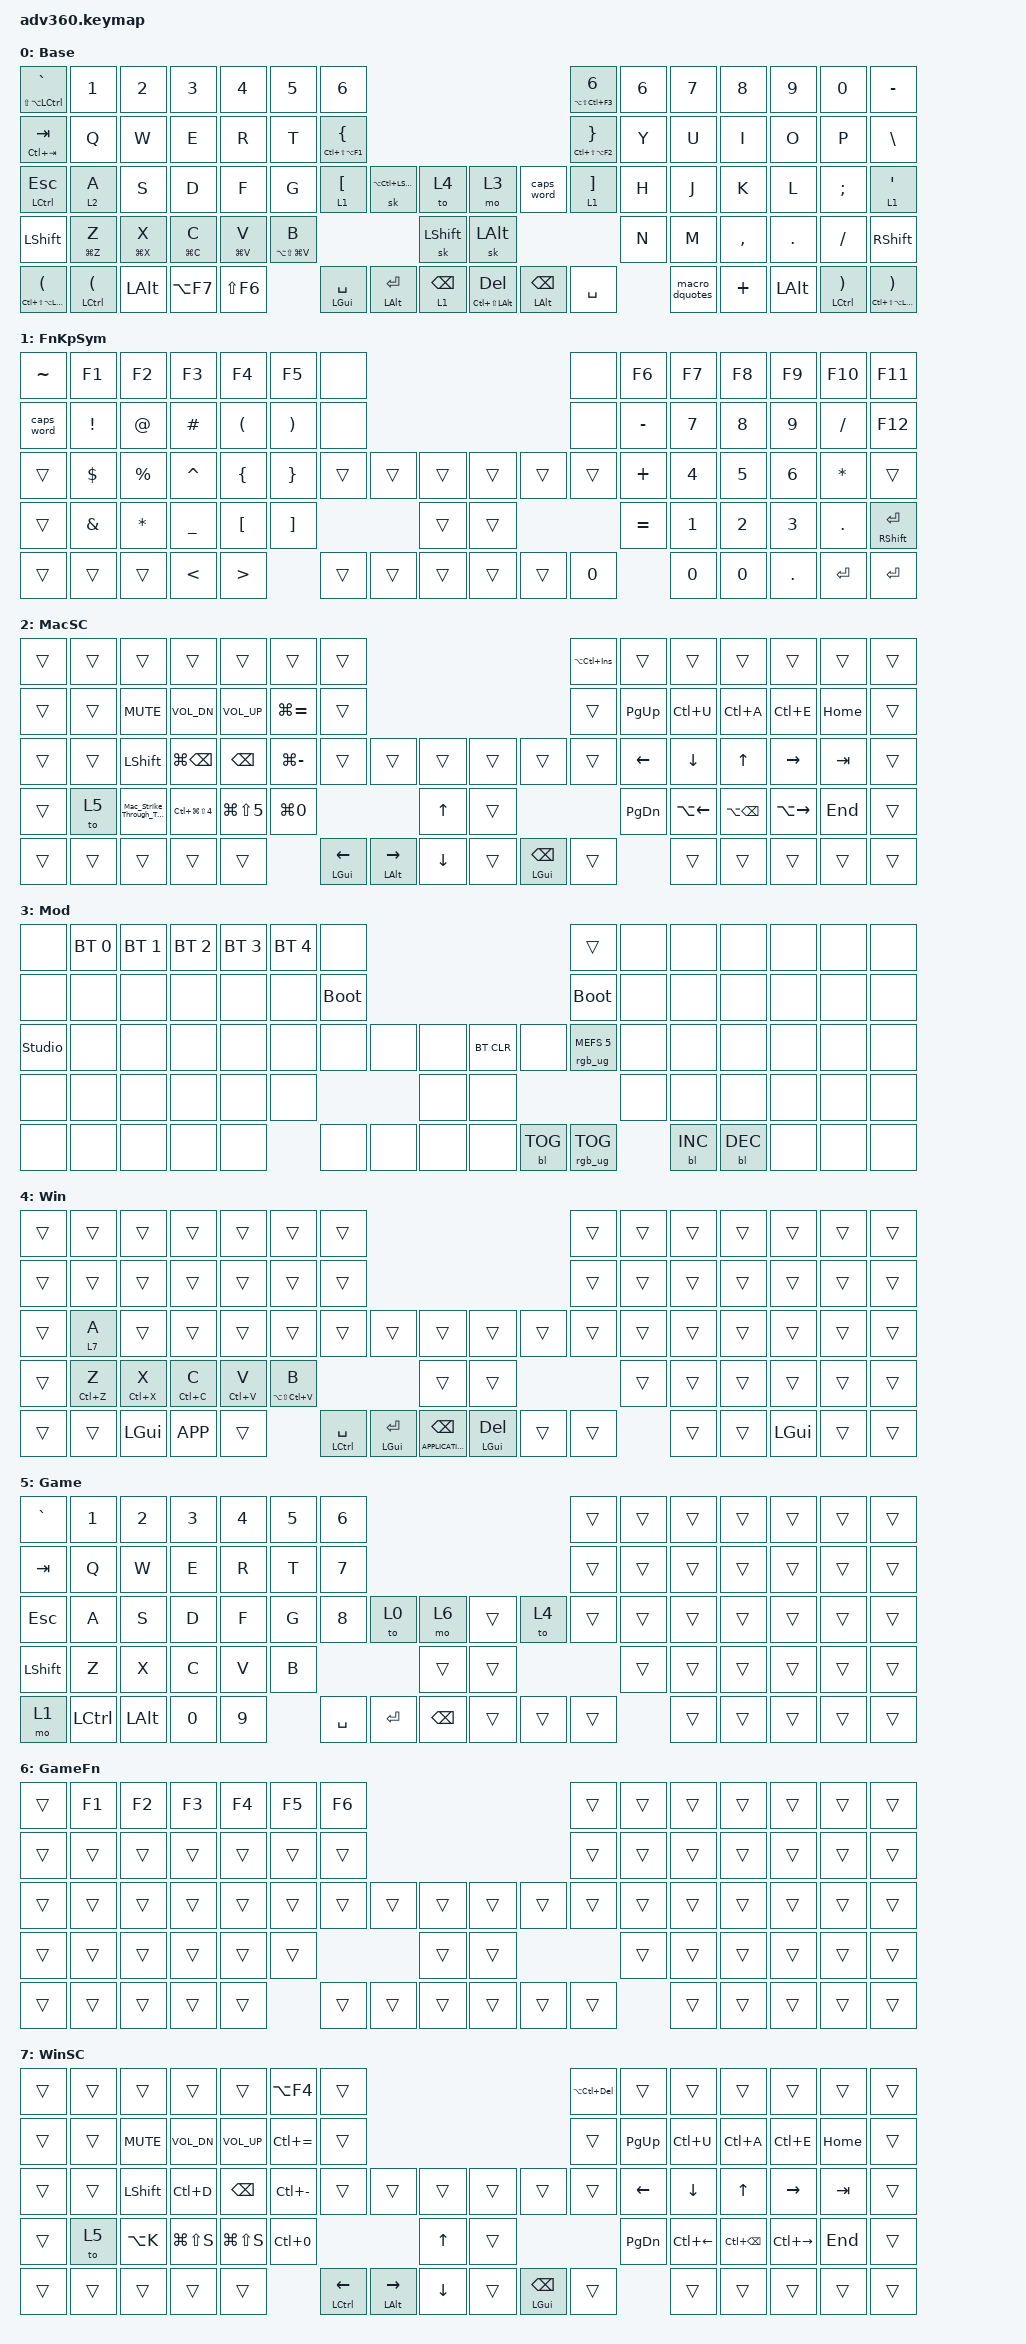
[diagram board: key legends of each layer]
/*
 * Copyright (c) 2020 The ZMK Contributors
 *
 * SPDX-License-Identifier: MIT
 */
/* THIS FILE WAS GENERATED!
 *
 * This file was generated automatically. You may or may not want to
 * edit it directly.
 */

#include <dt-bindings/zmk/stp.h>
#include <behaviors.dtsi>
#include <dt-bindings/zmk/backlight.h>
#include <dt-bindings/zmk/bt.h>
#include <dt-bindings/zmk/keys.h>
#include <dt-bindings/zmk/pointing.h>
#include <dt-bindings/zmk/rgb.h>

/ {
    behaviors {
        hm: homerow_mods {
            compatible = "zmk,behavior-hold-tap";
            label = "HOMEROW_MODS";
            #binding-cells = <2>;
            tapping-term-ms = <200>;
            quick_tap_ms = <175>;
            flavor = "tap-preferred";
            bindings = <&kp>, <&kp>;
        };
    };

    macros {
        macro_quotes: macro_quotes {
            compatible = "zmk,behavior-macro";
            display-name = "macro_quotes";
            #binding-cells = <0>;
            bindings = <&kp SQT &kp SQT &kp LEFT>;
        };

        macro_dquotes: macro_dquotes {
            compatible = "zmk,behavior-macro";
            display-name = "macro_dquotes";
            #binding-cells = <0>;
            bindings = <&kp DQT &kp DQT &kp LEFT>;
        };

        macro_braces: macro_braces {
            compatible = "zmk,behavior-macro";
            display-name = "macro_braces";
            #binding-cells = <0>;
            bindings = <&kp LBRC &kp RBRC &kp LEFT>;
        };

        macro_parens: macro_parens {
            compatible = "zmk,behavior-macro";
            display-name = "macro_parens";
            #binding-cells = <0>;
            bindings = <&kp LPAR &kp RPAR &kp LEFT>;
        };

        macro_brackets: macro_brackets {
            compatible = "zmk,behavior-macro";
            display-name = "macro_brackets";
            #binding-cells = <0>;
            bindings = <&kp LBKT &kp RBKT &kp LEFT>;
        };

        macro_kinesis: macro_kinesis {
            compatible = "zmk,behavior-macro";
            display-name = "macro_kinesis";
            #binding-cells = <0>;
            bindings = <&kp LS(K) &kp I &kp N &kp E &kp S &kp I &kp S>;
        };

        Win_Cut: Windows_Cut {
            compatible = "zmk,behavior-macro";
            #binding-cells = <0>;
            bindings = <&kp LC(X)>;
            display-name = "Windows Cut";
        };

        Win_Copy: Windows_Copy {
            compatible = "zmk,behavior-macro";
            #binding-cells = <0>;
            bindings = <&kp LC(C)>;
            display-name = "Windows Copy";
        };

        Win_Paste: Windows_Paste {
            compatible = "zmk,behavior-macro";
            #binding-cells = <0>;
            bindings = <&kp LC(V)>;
            display-name = "Windows Paste";
        };

        Win_Select_All: Windows_SelectAll {
            compatible = "zmk,behavior-macro";
            #binding-cells = <0>;
            bindings = <&kp LC(A)>;
            display-name = "Windows Select All";
        };

        Win_Undo: Windows_Undo {
            compatible = "zmk,behavior-macro";
            #binding-cells = <0>;
            bindings = <&kp LC(Z)>;
            display-name = "Windows Undo";
        };

        Win_Desktop: Win_Desk {
            compatible = "zmk,behavior-macro";
            #binding-cells = <0>;
            bindings = <&kp LG(D)>;
            display-name = "Windows Desktop";
        };

        Win_File_Explorer: Win_Explr {
            compatible = "zmk,behavior-macro";
            #binding-cells = <0>;
            bindings = <&kp LG(E)>;
            display-name = "Windows Explorer";
        };

        Win_Snip_Tool: Win_Snip {
            compatible = "zmk,behavior-macro";
            #binding-cells = <0>;
            bindings = <&kp LS(LG(S))>;
            display-name = "Windows Screen Snip";
        };

        Win_Show_All_Windows: Win_ShowAW {
            compatible = "zmk,behavior-macro";
            #binding-cells = <0>;
            bindings = <&kp LG(TAB)>;
            display-name = "Windows Show All Windows";
        };

        Mac_Cut: Mac_Cut {
            compatible = "zmk,behavior-macro";
            #binding-cells = <0>;
            bindings = <&kp LG(X)>;
            display-name = "Mac Cut";
        };

        Mac_Copy: Mac_Copy {
            compatible = "zmk,behavior-macro";
            #binding-cells = <0>;
            bindings = <&kp LG(C)>;
            display-name = "Mac Copy";
        };

        Mac_Paste: Mac_Paste {
            compatible = "zmk,behavior-macro";
            #binding-cells = <0>;
            bindings = <&kp LG(V)>;
            display-name = "Mac Paste";
        };

        Mac_Undo: Mac_Undo {
            compatible = "zmk,behavior-macro";
            #binding-cells = <0>;
            bindings = <&kp LG(Z)>;
            display-name = "Mac Undo";
        };

        Mac_Select_All: Mac_SelAll {
            compatible = "zmk,behavior-macro";
            #binding-cells = <0>;
            bindings = <&kp LG(A)>;
            display-name = "Mac Select All";
        };

        Mac_Mission_Control: Mac_ShowAW {
            compatible = "zmk,behavior-macro";
            #binding-cells = <0>;
            bindings = <&kp LC(UP_ARROW)>;
            display-name = "Mac Show All Windows";
        };

        Mac_Snip_Tool: Mac_Snip {
            compatible = "zmk,behavior-macro";
            #binding-cells = <0>;
            bindings = <&kp LC(LG(LS(NUMBER_4)))>;
            display-name = "Mac Screen Snip";
        };

        Win_Close_Program: Win_Close_Program {
            compatible = "zmk,behavior-macro";
            #binding-cells = <0>;
            bindings = <&kp LA(F4)>;
            display-name = "Windows Close";
        };

        Win_Settings_Menu: Win_Settings_Menu {
            compatible = "zmk,behavior-macro";
            #binding-cells = <0>;
            bindings = <&kp LG(I)>;
            display-name = "Windows Settings";
        };

        Win_Lock_PC: Win_Lock_PC {
            compatible = "zmk,behavior-macro";
            #binding-cells = <0>;
            bindings = <&kp LG(L)>;
            display-name = "Windows Lock";
        };

        Win_Tile_Left: Win_Tile_Left {
            compatible = "zmk,behavior-macro";
            #binding-cells = <0>;
            bindings = <&kp LG(LEFT)>;
            display-name = "Windows Tile Left";
        };

        Win_Tile_Up: Win_Tile_Up {
            compatible = "zmk,behavior-macro";
            #binding-cells = <0>;
            bindings = <&kp LG(UP_ARROW)>;
            display-name = "Windows Tile Up";
        };

        Win_Tile_Down: Win_Tile_Down {
            compatible = "zmk,behavior-macro";
            #binding-cells = <0>;
            bindings = <&kp LG(DOWN)>;
            display-name = "Windows Tile Down";
        };

        Win_Tile_Right: Win_Tile_Right {
            compatible = "zmk,behavior-macro";
            #binding-cells = <0>;
            bindings = <&kp LG(RIGHT)>;
            display-name = "Windows Tile Right";
        };

        Mac_Spotlight_Search: Mac_Spotlight_Search {
            compatible = "zmk,behavior-macro";
            #binding-cells = <0>;
            bindings = <&kp LG(SPACE)>;
            display-name = "Mac Spotlight Search";
        };

        Mac_Close_Program: Mac_Close_Program {
            compatible = "zmk,behavior-macro";
            #binding-cells = <0>;
            bindings = <&kp LG(Q)>;
            display-name = "Mac Close Program";
        };

        Mac_Strike_Through_Text: Mac_Strike_Through_Text {
            compatible = "zmk,behavior-macro";
            #binding-cells = <0>;
            bindings = <&kp LG(LS(X))>;
            display-name = "Mac Strikethrough Text";
        };

        Double_Click: Double_Click {
            compatible = "zmk,behavior-macro";
            #binding-cells = <0>;
            bindings = <&mkp MB1 &mkp MB1>;
            display-name = "Double Click";
        };

        goeq: goeq {
            compatible = "zmk,behavior-macro";
            #binding-cells = <0>;
            bindings = <&kp COLON &kp EQUAL>;
            label = "GOEQ";
        };

        larrow: larrow {
            compatible = "zmk,behavior-macro";
            #binding-cells = <0>;
            bindings = <&kp LESS_THAN &kp MINUS>;
            label = "LARROW";
        };

        rarrow: rarrow {
            compatible = "zmk,behavior-macro";
            #binding-cells = <0>;
            bindings = <&kp MINUS &kp GT>;
            label = "RARROW";
        };
    };

    combos {
        compatible = "zmk,combos";

        combo_goeq {
            bindings = <&goeq>;
            key-positions = <44 19>;
        };

        combo_rarrow {
            bindings = <&rarrow>;
            key-positions = <44 18>;
        };

        combo_larrow {
            bindings = <&larrow>;
            key-positions = <44 17>;
        };
    };

    keymap {
        compatible = "zmk,keymap";

        default_layer {
            display-name = "Base";
            bindings = <
&mt LS(LA(LCTRL)) GRAVE                &kp N1                      &kp N2       &kp N3       &kp N4       &kp N5               &kp NUMBER_6                                                                                                                 &mt LA(LS(LC(F3))) NUMBER_6     &kp N6  &kp N7          &kp N8     &kp N9    &kp N0                       &kp MINUS
&mt LC(TAB) TAB                        &kp Q                       &kp W        &kp E        &kp R        &kp T                &mt LC(LS(LA(F1))) LEFT_BRACE                                                                                                &mt LC(LS(LA(F2))) RIGHT_BRACE  &kp Y   &kp U           &kp I      &kp O     &kp P                        &kp BSLH
&mt LCTRL ESC                          &lt 2 A                     &kp S        &kp D        &kp F        &kp G                &lt 1 LEFT_BRACKET             &sk LA(LC(LEFT_SHIFT))  &to 4                &mo 3                    &caps_word              &lt 1 RIGHT_BRACKET             &kp H   &kp J           &kp K      &kp L     &kp SEMI                     &lt 1 SINGLE_QUOTE
&kp LSHFT                              &hm LG(Z) Z                 &hm LG(X) X  &hm LG(C) C  &hm LG(V) V  &hm LA(LS(LG(V))) B                                                         &sk LEFT_SHIFT       &sk LEFT_ALT                                                                     &kp N   &kp M           &kp COMMA  &kp DOT   &kp FSLH                     &kp RSHFT
&mt LC(LS(LA(LGUI))) LEFT_PARENTHESIS  &mt LCTRL LEFT_PARENTHESIS  &kp LALT     &kp LA(F7)   &kp LS(F6)                        &mt LGUI SPACE                 &mt LALT RET            &lt 1 BACKSPACE      &mt LC(LS(LALT)) DELETE  &mt LEFT_ALT BACKSPACE  &kp SPACE                               &macro_dquotes  &kp PLUS   &kp LALT  &mt LCTRL RIGHT_PARENTHESIS  &mt LC(LS(LA(LGUI))) RIGHT_PARENTHESIS
            >;
        };

        fnkpsym {
            display-name = "FnKpSym";
            bindings = <
&kp TILDE   &kp F1           &kp F2        &kp F3          &kp F4            &kp F5             &none                                       &none   &kp F6     &kp F7        &kp F8        &kp F9      &kp F10       &kp F11
&caps_word  &kp EXCLAMATION  &kp AT_SIGN   &kp HASH        &kp LPAR          &kp RPAR           &none                                       &none   &kp MINUS  &kp NUMBER_7  &kp NUMBER_8  &kp N9      &kp SLASH     &kp F12
&trans      &kp DOLLAR       &kp PERCENT   &kp CARET       &kp LEFT_BRACE    &kp RIGHT_BRACE    &trans  &trans  &trans      &trans  &trans  &trans  &kp PLUS   &kp N4        &kp N5        &kp N6      &kp ASTERISK  &trans
&trans      &kp AMPS         &kp ASTERISK  &kp UNDERSCORE  &kp LEFT_BRACKET  &kp RIGHT_BRACKET                  &trans      &trans                  &kp EQUAL  &kp N1        &kp N2        &kp N3      &kp PERIOD    &mt RSHFT ENTER
&trans      &trans           &trans        &kp LESS_THAN   &kp GREATER_THAN                     &trans  &trans  &trans      &trans  &trans  &kp N0             &kp N0        &kp N0        &kp PERIOD  &kp RETURN    &kp ENTER
            >;
        };

        macsc {
            display-name = "MacSC";
            bindings = <
&trans  &trans  &trans                    &trans                    &trans                &trans            &trans                                                                                     &kp LA(LC(INS))  &trans          &trans              &trans             &trans               &trans    &trans
&trans  &trans  &kp C_MUTE                &kp C_VOL_DN              &kp C_VOL_UP          &kp LG(EQUAL)     &trans                                                                                     &trans           &kp PAGE_UP     &kp LC(U)           &kp LC(A)          &kp LC(E)            &kp HOME  &trans
&trans  &trans  &kp LSHFT                 &kp LG(BSPC)              &kp BACKSPACE         &kp LG(MINUS)     &trans                   &trans              &trans        &trans  &trans                  &trans           &kp LEFT_ARROW  &kp DOWN            &kp UP             &kp RIGHT_ARROW      &kp TAB   &trans
&trans  &to 5   &Mac_Strike_Through_Text  &kp LC(LG(LS(NUMBER_4)))  &kp LG(LS(NUMBER_5))  &kp LG(NUMBER_0)                                               &kp UP        &trans                                           &kp PAGE_DOWN   &kp LA(LEFT_ARROW)  &kp LA(BACKSPACE)  &kp LA(RIGHT_ARROW)  &kp END   &trans
&trans  &trans  &trans                    &trans                    &trans                                  &mt LEFT_GUI LEFT_ARROW  &mt LEFT_ALT RIGHT  &kp DOWN      &trans  &mt LEFT_GUI BACKSPACE  &trans                           &trans              &trans             &trans               &trans    &trans
            >;
        };

        mod {
            display-name = "Mod";
            bindings = <
&none           &bt BT_SEL 0  &bt BT_SEL 1  &bt BT_SEL 2  &bt BT_SEL 3  &bt BT_SEL 4  &none                                                  &trans                  &none  &none       &none       &none  &none  &none
&none           &none         &none         &none         &none         &none         &bootloader                                            &bootloader             &none  &none       &none       &none  &none  &none
&studio_unlock  &none         &none         &none         &none         &none         &none        &none  &none      &bt BT_CLR  &none       &rgb_ug RGB_MEFS_CMD 5  &none  &none       &none       &none  &none  &none
&none           &none         &none         &none         &none         &none                             &none      &none                                           &none  &none       &none       &none  &none  &none
&none           &none         &none         &none         &none                       &none        &none  &none      &none       &bl BL_TOG  &rgb_ug RGB_TOG                &bl BL_INC  &bl BL_DEC  &none  &none  &none
            >;
        };

        win {
            display-name = "Win";
            bindings = <
&trans  &trans       &trans        &trans       &trans       &trans               &trans                                                                                      &trans  &trans  &trans  &trans  &trans    &trans  &trans
&trans  &trans       &trans        &trans       &trans       &trans               &trans                                                                                      &trans  &trans  &trans  &trans  &trans    &trans  &trans
&trans  &lt 7 A      &trans        &trans       &trans       &trans               &trans           &trans              &trans                           &trans        &trans  &trans  &trans  &trans  &trans  &trans    &trans  &trans
&trans  &hm LC(Z) Z  &hm LC(X) X   &hm LC(C) C  &hm LC(V) V  &hm LA(LS(LC(V))) B                                       &trans                           &trans                        &trans  &trans  &trans  &trans    &trans  &trans
&trans  &trans       &kp LEFT_GUI  &kp K_APP    &trans                            &mt LCTRL SPACE  &mt LEFT_GUI ENTER  &mt K_APPLICATION BACKSPACE      &mt LGUI DEL  &trans  &trans          &trans  &trans  &kp LGUI  &trans  &trans
            >;
        };

        game {
            display-name = "Game";
            bindings = <
&kp GRAVE       &kp NUMBER_1      &kp NUMBER_2  &kp NUMBER_3  &kp NUMBER_4  &kp NUMBER_5  &kp NUMBER_6                                                &trans  &trans  &trans  &trans  &trans  &trans  &trans
&kp TAB         &kp Q             &kp W         &kp E         &kp R         &kp T         &kp NUMBER_7                                                &trans  &trans  &trans  &trans  &trans  &trans  &trans
&kp ESC         &kp A             &kp S         &kp D         &kp F         &kp G         &kp NUMBER_8  &to 0      &mo 6              &trans  &to 4   &trans  &trans  &trans  &trans  &trans  &trans  &trans
&kp LEFT_SHIFT  &kp Z             &kp X         &kp C         &kp V         &kp B                                  &trans             &trans                  &trans  &trans  &trans  &trans  &trans  &trans
&mo 1           &kp LEFT_CONTROL  &kp LEFT_ALT  &kp NUMBER_0  &kp NUMBER_9                &kp SPACE     &kp ENTER  &kp BACKSPACE      &trans  &trans  &trans          &trans  &trans  &trans  &trans  &trans
            >;
        };

        gamefn {
            display-name = "GameFn";
            bindings = <
&trans  &kp F1  &kp F2  &kp F3  &kp F4  &kp F5  &kp F6                                      &trans  &trans  &trans  &trans  &trans  &trans  &trans
&trans  &trans  &trans  &trans  &trans  &trans  &trans                                      &trans  &trans  &trans  &trans  &trans  &trans  &trans
&trans  &trans  &trans  &trans  &trans  &trans  &trans  &trans  &trans      &trans  &trans  &trans  &trans  &trans  &trans  &trans  &trans  &trans
&trans  &trans  &trans  &trans  &trans  &trans                  &trans      &trans                  &trans  &trans  &trans  &trans  &trans  &trans
&trans  &trans  &trans  &trans  &trans          &trans  &trans  &trans      &trans  &trans  &trans          &trans  &trans  &trans  &trans  &trans
            >;
        };

        WinSC {
            display-name = "WinSC";
            bindings = <
&trans  &trans  &trans      &trans         &trans         &kp LA(F4)        &trans                                                                                  &kp LA(LC(DELETE))  &trans          &trans              &trans             &trans               &trans    &trans
&trans  &trans  &kp C_MUTE  &kp C_VOL_DN   &kp C_VOL_UP   &kp LC(EQUAL)     &trans                                                                                  &trans              &kp PAGE_UP     &kp LC(U)           &kp LC(A)          &kp LC(E)            &kp HOME  &trans
&trans  &trans  &kp LSHFT   &kp LC(D)      &kp BACKSPACE  &kp LC(MINUS)     &trans                &trans              &trans        &trans  &trans                  &trans              &kp LEFT_ARROW  &kp DOWN            &kp UP             &kp RIGHT_ARROW      &kp TAB   &trans
&trans  &to 5   &kp LA(K)   &kp LG(LS(S))  &kp LG(LS(S))  &kp LC(NUMBER_0)                                            &kp UP        &trans                                              &kp PAGE_DOWN   &kp LC(LEFT_ARROW)  &kp LC(BACKSPACE)  &kp LC(RIGHT_ARROW)  &kp END   &trans
&trans  &trans  &trans      &trans         &trans                           &mt LCTRL LEFT_ARROW  &mt LEFT_ALT RIGHT  &kp DOWN      &trans  &mt LEFT_GUI BACKSPACE  &trans                              &trans              &trans             &trans               &trans    &trans
            >;
        };
    };
};
